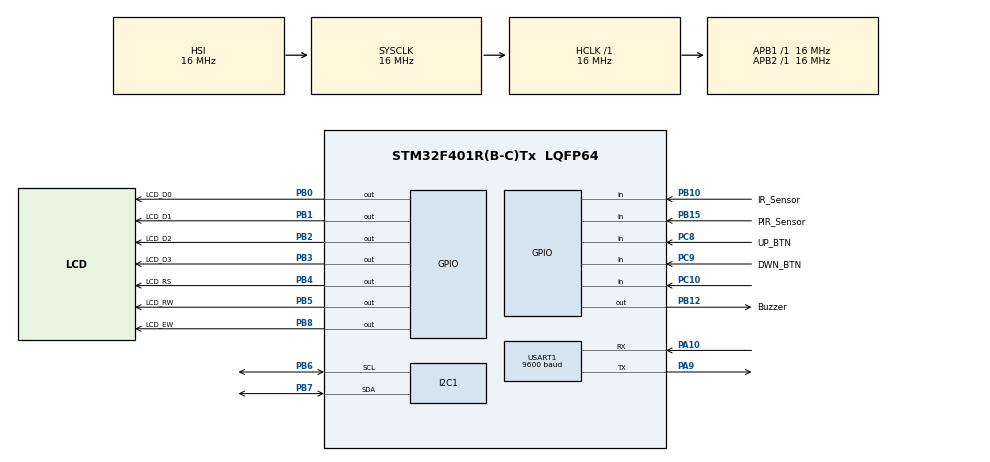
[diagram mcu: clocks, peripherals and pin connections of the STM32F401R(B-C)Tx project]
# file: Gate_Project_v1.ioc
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FREERTOS.BinarySemaphores01=Sem01,Dynamic,NULL;Sem02,Dynamic,NULL;Sem03,Dynamic,NULL;Sem04,Dynamic,NULL
FREERTOS.Tasks01=SensorStatus,0,128,Task1_SensorStatus,Default,NULL,Dynamic,NULL,NULL;DisplayTimeDate,0,128,Task2_ReadRTC_WriteLCD_1sec,Default,NULL,Dynamic,NULL,NULL;GateAnnouncment,0,128,Task3_Gate_Announcement,Default,NULL,Dynamic,NULL,NULL;VolumeChange,0,128,Task4_Volume_Change,Default,NULL,Dynamic,NULL,NULL
FREERTOS.configTICK_RATE_HZ=8
Mcu.Family=STM32F4
Mcu.Name=STM32F401R(B-C)Tx
Mcu.Package=LQFP64
NVIC.PriorityGroup=NVIC_PRIORITYGROUP_4
NVIC.TIM1_UP_TIM10_IRQn=true\:15\:0\:false\:false\:true\:false\:false\:true
NVIC.TimeBase=TIM1_UP_TIM10_IRQn
NVIC.TimeBaseIP=TIM10
PA10.Mode=Asynchronous
PA10.Signal=USART1_RX
PA13.Mode=Serial_Wire
PA13.Signal=SYS_JTMS-SWDIO
PA14.Mode=Serial_Wire
PA14.Signal=SYS_JTCK-SWCLK
PA9.Mode=Asynchronous
PA9.Signal=USART1_TX
PB0.GPIO_Label=LCD_D0
PB0.Signal=GPIO_Output
PB1.GPIO_Label=LCD_D1
PB1.Signal=GPIO_Output
PB10.GPIO_Label=IR_Sensor
PB10.GPIO_PuPd=GPIO_PULLUP
PB10.Signal=GPIO_Input
PB12.GPIO_Label=Buzzer
PB12.Signal=GPIO_Output
PB15.GPIO_Label=PIR_Sensor
PB15.GPIO_PuPd=GPIO_PULLUP
PB15.Signal=GPIO_Input
PB2.GPIO_Label=LCD_D2
PB2.Signal=GPIO_Output
PB3.GPIO_Label=LCD_D3
PB3.Signal=GPIO_Output
PB4.GPIO_Label=LCD_RS
PB4.Signal=GPIO_Output
PB5.GPIO_Label=LCD_RW
PB5.Signal=GPIO_Output
PB6.Mode=I2C
PB6.Signal=I2C1_SCL
PB7.Mode=I2C
PB7.Signal=I2C1_SDA
PB8.GPIO_Label=LCD_EW
PB8.GPIO_PuPd=GPIO_NOPULL
PB8.Signal=GPIO_Output
PC10.GPIO_PuPd=GPIO_PULLUP
PC10.Signal=GPIO_Input
PC14-OSC32_IN.Mode=LSE-External-Oscillator
PC14-OSC32_IN.Signal=RCC_OSC32_IN
PC15-OSC32_OUT.Mode=LSE-External-Oscillator
PC15-OSC32_OUT.Signal=RCC_OSC32_OUT
PC8.GPIO_Label=UP_BTN
PC8.GPIO_PuPd=GPIO_PULLUP
PC8.Signal=GPIO_Input
PC9.GPIO_Label=DWN_BTN
PC9.GPIO_PuPd=GPIO_PULLUP
PC9.Signal=GPIO_Input
PH0\ -\ OSC_IN.Mode=HSE-External-Oscillator
PH0\ -\ OSC_IN.Signal=RCC_OSC_IN
PH1\ -\ OSC_OUT.Mode=HSE-External-Oscillator
PH1\ -\ OSC_OUT.Signal=RCC_OSC_OUT
ProjectManager.HeapSize=0x200
ProjectManager.StackSize=0x400
ProjectManager.TargetToolchain=STM32CubeIDE
RCC.AHBFreq_Value=16000000
RCC.APB1Freq_Value=16000000
RCC.APB2Freq_Value=16000000
RCC.CortexFreq_Value=16000000
RCC.HSE_VALUE=25000000
RCC.HSI_VALUE=16000000
RCC.SYSCLKFreq_VALUE=16000000
RCC.VCOOutputFreq_Value=192000000
USART1.BaudRate=9600
USART1.VirtualMode=VM_ASYNC
VP_FREERTOS_VS_CMSIS_V1.Mode=CMSIS_V1
VP_SYS_VS_tim10.Mode=TIM10
board=custom

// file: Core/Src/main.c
/* USER CODE BEGIN Header */
/**
  ******************************************************************************
  * @file           : main.c
  * @brief          : Main program body
  ******************************************************************************
  * @attention
  *
  * Copyright (c) 2023 STMicroelectronics.
  * All rights reserved.
  *
  * This software is licensed under terms that can be found in the LICENSE file
  * in the root directory of this software component.
  * If no LICENSE file comes with this software, it is provided AS-IS.
  *
  ******************************************************************************
  */
/* USER CODE END Header */
#include "main.h"
#include "cmsis_os.h"

/* USER CODE BEGIN Includes */
#include "string.h"
#include "stdio.h"
#include "stdlib.h"
#include "Lcd.h"
/* USER CODE END Includes */

I2C_HandleTypeDef hi2c1;

UART_HandleTypeDef huart1;

osThreadId SensorStatusHandle;
osThreadId DisplayTimeDateHandle;
osThreadId GateAnnouncmentHandle;
osThreadId VolumeChangeHandle;
osSemaphoreId Sem01Handle;
osSemaphoreId Sem02Handle;
osSemaphoreId Sem03Handle;
osSemaphoreId Sem04Handle;
/* USER CODE BEGIN PV */
int IR_Value,PIR_Value,Hours_Int=0;
char Hours[2],Min[2],Sec[2]; //Time Stamp
uint8_t Time_Date[8];
char JQ6500_receiveBuff[4];
char Vol_Val[2],str[2];

int VolValue,enter=0,key=00,i=0,key1=2000000;
char Temp_Value[8];
uint8_t Time_Date[8];
uint8_t Mem_Write_data[8]={0x15,0x10,0x11,0x06,0x12,0x12,0x23};

/* USER CODE END PV */

void SystemClock_Config(void);
static void MX_GPIO_Init(void);
static void MX_I2C1_Init(void);
static void MX_USART1_UART_Init(void);
void Task1_SensorStatus(void const * argument);
void Task2_ReadRTC_WriteLCD_1sec(void const * argument);
void Task3_Gate_Announcement(void const * argument);
void Task4_Volume_Change(void const * argument);

/* USER CODE BEGIN 0 */
void sendJQ6500Command(uint8_t commandType) {
    uint8_t command[] = {commandType};
    HAL_UART_Transmit(&huart1, command, sizeof(command), 1000);
}

//void receiveJQ6500Command(void) {
//    HAL_UART_Receive(&huart1, JQ6500_receiveBuff, sizeof(JQ6500_receiveBuff), 100);
//}

void Audio_Track_Morning(void){
	sendJQ6500Command(0x7E);
	sendJQ6500Command(0x04);
	sendJQ6500Command(0x03);
	sendJQ6500Command(0x00);
	sendJQ6500Command(0x01); //File 1
	sendJQ6500Command(0xEF);
}

void Audio_Track_Afternoon(void){
	sendJQ6500Command(0x7E);
	sendJQ6500Command(0x04);
	sendJQ6500Command(0x03);
	sendJQ6500Command(0x00);
	sendJQ6500Command(0x02); //File 2
	sendJQ6500Command(0xEF);
}

void Audio_Track_Evening(void){
	sendJQ6500Command(0x7E);
	sendJQ6500Command(0x04);
	sendJQ6500Command(0x03);
	sendJQ6500Command(0x00);
	sendJQ6500Command(0x03); //File 3
	sendJQ6500Command(0xEF);
}

void Audio_Track_Welcome(void){
	sendJQ6500Command(0x7E);
	sendJQ6500Command(0x04);
	sendJQ6500Command(0x03);
	sendJQ6500Command(0x00);
	sendJQ6500Command(0x04); //File 4
	sendJQ6500Command(0xEF);
}

void Audio_Track_ThankYou(void){
	sendJQ6500Command(0x7E);
	sendJQ6500Command(0x04);
	sendJQ6500Command(0x03);
	sendJQ6500Command(0x00);
	sendJQ6500Command(0x05); //File 5
	sendJQ6500Command(0xEF);
}

void Audio_Track_CloseGate(void){
	sendJQ6500Command(0x7E);
	sendJQ6500Command(0x04);
	sendJQ6500Command(0x03);
	sendJQ6500Command(0x00);
	sendJQ6500Command(0x06); //File 6
	sendJQ6500Command(0xEF);
}

void Audio_Track_ThankClose(void){
	sendJQ6500Command(0x7E);
	sendJQ6500Command(0x04);
	sendJQ6500Command(0x03);
	sendJQ6500Command(0x00);
	sendJQ6500Command(0x07); //File 7
	sendJQ6500Command(0xEF);
}

void Audio_Track_VolumeSet(void){
	sendJQ6500Command(0x7E);
	sendJQ6500Command(0x03);
	sendJQ6500Command(0x06);
	sendJQ6500Command(0x1E); //Volume
	sendJQ6500Command(0xEF);
}

void Audio_Track_VolumeUp(void){
	sendJQ6500Command(0x7E);
	sendJQ6500Command(0x02);
	sendJQ6500Command(0x04); //Volume Up
	sendJQ6500Command(0xEF);
}

void Audio_Track_VolumeDown(void){
	sendJQ6500Command(0x7E);
	sendJQ6500Command(0x02);
	sendJQ6500Command(0x05); //Volume Down
	sendJQ6500Command(0xEF);
}

void Audio_Track_getVolume(void){
	sendJQ6500Command(0x7E);
	sendJQ6500Command(0x02);
	sendJQ6500Command(0x43); //Volume Down
	sendJQ6500Command(0xEF);
	HAL_UART_Receive(&huart1, JQ6500_receiveBuff, sizeof(JQ6500_receiveBuff), 1000);
}

void Audio_Track_Pause(void){
	sendJQ6500Command(0x7E);
	sendJQ6500Command(0x02);
	sendJQ6500Command(0x0E); //Pause Track
	sendJQ6500Command(0xEF);
}

void Audio_Track_Play(void){
	sendJQ6500Command(0x7E);
	sendJQ6500Command(0x02);
	sendJQ6500Command(0x0D); //Play Track
	sendJQ6500Command(0xEF);
}

/* USER CODE END 0 */

int main(void)
{
  /* USER CODE BEGIN 1 */
	char apndValue[3];
  /* USER CODE END 1 */

  /* MCU Configuration--------------------------------------------------------*/

  /* Reset of all peripherals, Initializes the Flash interface and the Systick. */
  HAL_Init();

  /* Configure the system clock */
  SystemClock_Config();

  /* Initialize all configured peripherals */
  MX_GPIO_Init();
  MX_I2C1_Init();
  MX_USART1_UART_Init();
  /* USER CODE BEGIN 2 */
  RM_LCD_Init();
  RM_LCD_Clear();

  /*Clock Config*/
  for(;i<key1;i++)
    {
    if(!(HAL_GPIO_ReadPin(GPIOC,GPIO_PIN_10)))
    {
  	  HAL_Delay(100);
    for(;enter<15;)
    {
  	  if(enter==1)
  	  {
  		  if(!(HAL_GPIO_ReadPin(GPIOC,GPIO_PIN_8)))
  		  {
  			  RM_LCD_Goto(0,0);
  			  HAL_Delay(100);
  			  Mem_Write_data[2]=key++;
  			  HAL_I2C_Mem_Write(&hi2c1,(0x68<<1),0x02,1, (uint8_t *)&Mem_Write_data[2],1,1000);
  			  HAL_I2C_Mem_Read(&hi2c1,(0x68<<1),0x02,1, (uint8_t *)&Time_Date[2],1,1000);
  			  sprintf(Temp_Value, "%02d",Time_Date[2]-6*(Time_Date[2]>>4));
  			  RM_LCD_PutStr(Temp_Value);
  			  HAL_Delay(100);
  			  if(key>24)
  			  {
  				  key=0;
  			  }
  		  }
  		  if(!(HAL_GPIO_ReadPin(GPIOC,GPIO_PIN_9)))
  		  {
  			  RM_LCD_Goto(enter,0);
  			  HAL_Delay(100);
  			  Mem_Write_data[2]=(key--);
  			  HAL_I2C_Mem_Write(&hi2c1,(0x68<<1),0x02,1, (uint8_t *)&Mem_Write_data[2],1,1000);
  			  HAL_I2C_Mem_Read(&hi2c1,(0x68<<1),0x02,1, (uint8_t *)&Time_Date[2],1,1000);
  			  sprintf(Temp_Value, "%02d",Time_Date[2]-6*(Time_Date[2]>>4));
  			  RM_LCD_PutStr(Temp_Value);
  			  HAL_Delay(100);
  			  if(key<0)
  			  {
  				  key=0;
  			  }
  		  }

  	  }
  	  if(enter==3)
  	  	  {
  	  		  if(!(HAL_GPIO_ReadPin(GPIOC,GPIO_PIN_8)))
  	  		  {
  	  			RM_LCD_Goto(enter,0);
  	  			 HAL_Delay(100);
  	  			 Mem_Write_data[1]=(key++);
  	  			 HAL_I2C_Mem_Write(&hi2c1,(0x68<<1),0x01,1, (uint8_t *)&Mem_Write_data[1],1,1000);
  	  		  	 HAL_I2C_Mem_Read(&hi2c1,(0x68<<1),0x01,1, (uint8_t *)&Time_Date[1],1,1000);
  	  		  	 sprintf(Temp_Value, "%02d",Time_Date[1]-6*(Time_Date[1]>>4));
  	  			 RM_LCD_PutStr(Temp_Value);
  	  			 HAL_Delay(100);
  	  			 if(key>59)
  	  			 {
  	  				 key=0;
  	  			 }
  	  		  }

  	  		  if(!(HAL_GPIO_ReadPin(GPIOC,GPIO_PIN_9)))
  	  		  {
  	  			RM_LCD_Goto(enter,0);
  	  			HAL_Delay(100);
  	  		  Mem_Write_data[1]=(key--);
  	  		HAL_I2C_Mem_Write(&hi2c1,(0x68<<1),0x01,1, (uint8_t *)&Mem_Write_data[1],1,1000);
  	  		HAL_I2C_Mem_Read(&hi2c1,(0x68<<1),0x01,1, (uint8_t *)&Time_Date[1],1,1000);
  	  		sprintf(Temp_Value, "%02d",Time_Date[1]-6*(Time_Date[1]>>4));
  	  			   		  RM_LCD_PutStr(Temp_Value);
  	  			   		HAL_Delay(100);
  	  			   		  if(key<1)
  	  			   		  {
  	  			   			  key=0;
  	  			   		  }
  	  		  }
  	  	  }
  	  if(enter==6)
  	  	  {
  	  		  if(!(HAL_GPIO_ReadPin(GPIOC,GPIO_PIN_8)))
  	  		  {
  	  			 RM_LCD_Goto(enter,0);
  	  			HAL_Delay(100);
  	  		  Mem_Write_data[0]=(key++);
  	  		HAL_I2C_Mem_Write(&hi2c1,(0x68<<1),0x00,1, (uint8_t *)&Mem_Write_data[0],1,1000);
  	  		HAL_I2C_Mem_Read(&hi2c1,(0x68<<1),0x00,1, (uint8_t *)&Time_Date[0],1,1000);
  	  		sprintf(Temp_Value, "%02d",Time_Date[0]-6*(Time_Date[0]>>4));
  	  			   		  RM_LCD_PutStr(Temp_Value);
  	  			   		HAL_Delay(100);
  	  		if(key>59)
  	  		{
  	  			key=0;
  	  		}
  	  		  }
  	  		  if(!(HAL_GPIO_ReadPin(GPIOC,GPIO_PIN_9)))
  	  		  {
  	  			 RM_LCD_Goto(enter,0);
  	  			HAL_Delay(100);
  	  		  Mem_Write_data[0]=(key--);
  	  		HAL_I2C_Mem_Write(&hi2c1,(0x68<<1),0x00,1, (uint8_t *)&Mem_Write_data[0],1,1000);
  	  		HAL_I2C_Mem_Read(&hi2c1,(0x68<<1),0x00,1, (uint8_t *)&Time_Date[0],1,1000);
  	  		sprintf(Temp_Value, "%02d",Time_Date[0]-6*(Time_Date[0]>>4));
  	  			   		  RM_LCD_PutStr(Temp_Value);
  	  			   		HAL_Delay(100);
  	  			   		  if(key<1)
  	  			   		  {
  	  			   			  key=0;
  	  			   		  }
  	  		  }
  	  	  }
  	  if(enter==7)
  	  {

  		  	  		  if(!(HAL_GPIO_ReadPin(GPIOC,GPIO_PIN_8)))
  		  	  		  {
  		  	  			RM_LCD_Goto(0,1);
  		  	  			HAL_Delay(100);
  		  	  		Mem_Write_data[4]=(key++);
  		  	  	HAL_I2C_Mem_Write(&hi2c1,(0x68<<1),0x04,1, (uint8_t *)&Mem_Write_data[4],1,1000);
  		  	  HAL_I2C_Mem_Read(&hi2c1,(0x68<<1),0x04,1, (uint8_t *)&Time_Date[4],1,1000);
  		  	sprintf(Temp_Value, "%02d",Time_Date[4]-6*(Time_Date[4]>>4));
  		  		   			RM_LCD_PutStr(Temp_Value);
  		  		   		HAL_Delay(100);
  		  	  		if(key>31)
  		  	  		{
  		  	  			key=0;
  		  	  		}
  		  	  		  }
  		  	  		  if(!(HAL_GPIO_ReadPin(GPIOC,GPIO_PIN_9)))
  		  	  		  {
  		  	  			RM_LCD_Goto(0,1);
  		  	  			HAL_Delay(100);
  		 	  	  		Mem_Write_data[4]=(key--);
  		  	  		    HAL_I2C_Mem_Write(&hi2c1,(0x68<<1),0x04,1, (uint8_t *)&Mem_Write_data[4],1,1000);
  		  	  		HAL_I2C_Mem_Read(&hi2c1,(0x68<<1),0x04,1, (uint8_t *)&Time_Date[4],1,1000);
  		  	  	sprintf(Temp_Value, "%02d",Time_Date[4]-6*(Time_Date[4]>>4));
  		  	  		   			RM_LCD_PutStr(Temp_Value);
  		  	  		   		HAL_Delay(100);
  		  	  		   			if(key<1)
  		  	  		   			{
  		  	  		   				key=0;
  		  	  		   			}
  		  	  		  }
  	  }
  	  if(enter==9)
  	  	  {
  		  RM_LCD_Goto(3,1);
  	  		  	  		  if(!(HAL_GPIO_ReadPin(GPIOC,GPIO_PIN_8)))
  	  		  	  		  {
  	  		  	  		HAL_Delay(100);
  	  		  	  		Mem_Write_data[5]=(key++);
  	  		  	  	HAL_I2C_Mem_Write(&hi2c1,(0x68<<1),0x05,1, (uint8_t *)&Mem_Write_data[5],1,1000);
  	  		  	  HAL_I2C_Mem_Read(&hi2c1,(0x68<<1),0x05,1, (uint8_t *)&Time_Date[5],1,1000);
  	  		  	sprintf(Temp_Value, "%02d",Time_Date[5]-6*(Time_Date[5]>>4));
  	  		  		   			RM_LCD_PutStr(Temp_Value);
  	  		  		   		HAL_Delay(100);
  	  		  	  		if(key>12)
  	  		  	  		{
  	  		  	  			key=0;
  	  		  	  		}
  	  		  	  		  }
  	  		  	  		  if(!(HAL_GPIO_ReadPin(GPIOC,GPIO_PIN_9)))
  	  		  	  		  {
  	  		  	  		HAL_Delay(100);
  	  		 	  	  		Mem_Write_data[5]=(key--);
  	  		  	  		    HAL_I2C_Mem_Write(&hi2c1,(0x68<<1),0x05,1, (uint8_t *)&Mem_Write_data[5],1,1000);
  	  		  	  		HAL_I2C_Mem_Read(&hi2c1,(0x68<<1),0x05,1, (uint8_t *)&Time_Date[5],1,1000);
  	  		  	  	sprintf(Temp_Value, "%02d",Time_Date[5]-6*(Time_Date[5]>>4));
  	  		  	  		   			RM_LCD_PutStr(Temp_Value);
  	  		  	  		   	HAL_Delay(100);
  	  		  	  		   			if(key<0)
  	  		  	  		   			{
  	  		  	  		   				key=0;
  	  		  	  		   			}
  	  		  	  		  }
  	  	  }
  	  if(enter==11)
  	  	  	  {
  		  RM_LCD_Goto(6,1);
  	  	  		  	  		  if(!(HAL_GPIO_ReadPin(GPIOC,GPIO_PIN_8)))
  	  	  		  	  		  {
  	  	  		  	  		HAL_Delay(100);
  	  	  		  	  		Mem_Write_data[6]=(key++);
  	  	  		  	  	HAL_I2C_Mem_Write(&hi2c1,(0x68<<1),0x06,1, (uint8_t *)&Mem_Write_data[6],1,1000);
  	  	  		  	  HAL_I2C_Mem_Read(&hi2c1,(0x68<<1),0x06,1, (uint8_t *)&Time_Date[6],1,1000);
  	  	  		  	sprintf(Temp_Value, "%02d",Time_Date[6]-6*(Time_Date[6]>>4));
  	  	  		  		   			RM_LCD_PutStr(Temp_Value);
  	  	  		  		   	HAL_Delay(100);
  	  	  		  	  		  }
  	  	  		  	  		  if(!(HAL_GPIO_ReadPin(GPIOC,GPIO_PIN_9)))
  	  	  		  	  		  {
  	  	  		  	  		HAL_Delay(100);
  	  	  		 	  	  		Mem_Write_data[6]=(key--);
  	  	  		  	  		    HAL_I2C_Mem_Write(&hi2c1,(0x68<<1),0x06,1, (uint8_t *)&Mem_Write_data[6],1,1000);
  	  	  		  	  		HAL_I2C_Mem_Read(&hi2c1,(0x68<<1),0x06,1, (uint8_t *)&Time_Date[6],1,1000);
  	  	  		  	  	sprintf(Temp_Value, "%02d",Time_Date[6]-6*(Time_Date[6]>>4));
  	  	  		  	  		   			RM_LCD_PutStr(Temp_Value);
  	  	  		  	  		   	HAL_Delay(100);
  	  	  		  	  		  }
  	  	  	  }
  	  if(!(HAL_GPIO_ReadPin(GPIOC,GPIO_PIN_10)))
  	  {
  		  HAL_Delay(200);
  		  enter++;
  	  }
  	  if(enter==2)
  	  {
  		  HAL_Delay(100);
  		  RM_LCD_Goto(enter,0);
  		  RM_LCD_Write_DATA(':');
  		  enter++;
  	  }
  	  if(enter==5)
  	  {
  		  HAL_Delay(100);
  		  RM_LCD_Goto(enter,0);
  		  RM_LCD_Write_DATA(':');
  		  enter++;
  	  }
  	  if(enter==8)
  	  	  {
  	  		  HAL_Delay(100);
  	  		  RM_LCD_Goto(2,1);
  	  		  RM_LCD_Write_DATA(':');
  	  		  enter++;
  	  	  }
  	  if(enter==10)
  	  	  	  {
  	  	  		  HAL_Delay(100);
  	  	  		  RM_LCD_Goto(5,1);
  	  	  		  RM_LCD_Write_DATA(':');
  	  	  		  enter++;
  	  	  	  }
    }
    key1=0;
    }
    }

  /*Project Welcome Screen*/
  //Audio_Track_Play();
  sprintf(apndValue, "Gate Monitoring");  //Hours
  RM_LCD_Write_Str(0,0,apndValue);
  sprintf(apndValue, "V1.0");  //Hours
  RM_LCD_Write_Str(6,1,apndValue);
  HAL_Delay(2000);
  RM_LCD_Clear();

  /* USER CODE END 2 */

  /* Create the semaphores(s) */
  /* definition and creation of Sem01 */
  osSemaphoreDef(Sem01);
  Sem01Handle = osSemaphoreCreate(osSemaphore(Sem01), 1);

  /* definition and creation of Sem02 */
  osSemaphoreDef(Sem02);
  Sem02Handle = osSemaphoreCreate(osSemaphore(Sem02), 1);

  /* definition and creation of Sem03 */
  osSemaphoreDef(Sem03);
  Sem03Handle = osSemaphoreCreate(osSemaphore(Sem03), 1);

  /* definition and creation of Sem04 */
  osSemaphoreDef(Sem04);
  Sem04Handle = osSemaphoreCreate(osSemaphore(Sem04), 1);

  /* Create the thread(s) */
  /* definition and creation of SensorStatus */
  osThreadDef(SensorStatus, Task1_SensorStatus, osPriorityNormal, 0, 128);
  SensorStatusHandle = osThreadCreate(osThread(SensorStatus), NULL);

  /* definition and creation of DisplayTimeDate */
  osThreadDef(DisplayTimeDate, Task2_ReadRTC_WriteLCD_1sec, osPriorityNormal, 0, 128);
  DisplayTimeDateHandle = osThreadCreate(osThread(DisplayTimeDate), NULL);

  /* definition and creation of GateAnnouncment */
  osThreadDef(GateAnnouncment, Task3_Gate_Announcement, osPriorityNormal, 0, 128);
  GateAnnouncmentHandle = osThreadCreate(osThread(GateAnnouncment), NULL);

  /* definition and creation of VolumeChange */
  osThreadDef(VolumeChange, Task4_Volume_Change, osPriorityNormal, 0, 128);
  VolumeChangeHandle = osThreadCreate(osThread(VolumeChange), NULL);

  /* Start scheduler */
  osKernelStart();

  /* We should never get here as control is now taken by the scheduler */
  /* Infinite loop */
  while (1)
  {

  }
}

void SystemClock_Config(void)
{
  RCC_OscInitTypeDef RCC_OscInitStruct = {0};
  RCC_ClkInitTypeDef RCC_ClkInitStruct = {0};

  /** Configure the main internal regulator output voltage
  */
  __HAL_RCC_PWR_CLK_ENABLE();
  __HAL_PWR_VOLTAGESCALING_CONFIG(PWR_REGULATOR_VOLTAGE_SCALE2);
  /** Initializes the RCC Oscillators according to the specified parameters
  * in the RCC_OscInitTypeDef structure.
  */
  RCC_OscInitStruct.OscillatorType = RCC_OSCILLATORTYPE_HSI;
  RCC_OscInitStruct.HSIState = RCC_HSI_ON;
  RCC_OscInitStruct.HSICalibrationValue = RCC_HSICALIBRATION_DEFAULT;
  RCC_OscInitStruct.PLL.PLLState = RCC_PLL_NONE;
  if (HAL_RCC_OscConfig(&RCC_OscInitStruct) != HAL_OK)
  {
    Error_Handler();
  }
  /** Initializes the CPU, AHB and APB buses clocks
  */
  RCC_ClkInitStruct.ClockType = RCC_CLOCKTYPE_HCLK|RCC_CLOCKTYPE_SYSCLK
                              |RCC_CLOCKTYPE_PCLK1|RCC_CLOCKTYPE_PCLK2;
  RCC_ClkInitStruct.SYSCLKSource = RCC_SYSCLKSOURCE_HSI;
  RCC_ClkInitStruct.AHBCLKDivider = RCC_SYSCLK_DIV1;
  RCC_ClkInitStruct.APB1CLKDivider = RCC_HCLK_DIV1;
  RCC_ClkInitStruct.APB2CLKDivider = RCC_HCLK_DIV1;

  if (HAL_RCC_ClockConfig(&RCC_ClkInitStruct, FLASH_LATENCY_0) != HAL_OK)
  {
    Error_Handler();
  }
}

static void MX_I2C1_Init(void)
{

  hi2c1.Instance = I2C1;
  hi2c1.Init.ClockSpeed = 100000;
  hi2c1.Init.DutyCycle = I2C_DUTYCYCLE_2;
  hi2c1.Init.OwnAddress1 = 0;
  hi2c1.Init.AddressingMode = I2C_ADDRESSINGMODE_7BIT;
  hi2c1.Init.DualAddressMode = I2C_DUALADDRESS_DISABLE;
  hi2c1.Init.OwnAddress2 = 0;
  hi2c1.Init.GeneralCallMode = I2C_GENERALCALL_DISABLE;
  hi2c1.Init.NoStretchMode = I2C_NOSTRETCH_DISABLE;
  if (HAL_I2C_Init(&hi2c1) != HAL_OK)
  {
    Error_Handler();
  }

}

static void MX_USART1_UART_Init(void)
{

  huart1.Instance = USART1;
  huart1.Init.BaudRate = 9600;
  huart1.Init.WordLength = UART_WORDLENGTH_8B;
  huart1.Init.StopBits = UART_STOPBITS_1;
  huart1.Init.Parity = UART_PARITY_NONE;
  huart1.Init.Mode = UART_MODE_TX_RX;
  huart1.Init.HwFlowCtl = UART_HWCONTROL_NONE;
  huart1.Init.OverSampling = UART_OVERSAMPLING_16;
  if (HAL_UART_Init(&huart1) != HAL_OK)
  {
    Error_Handler();
  }

}

static void MX_GPIO_Init(void)
{
  GPIO_InitTypeDef GPIO_InitStruct = {0};

  /* GPIO Ports Clock Enable */
  __HAL_RCC_GPIOC_CLK_ENABLE();
  __HAL_RCC_GPIOH_CLK_ENABLE();
  __HAL_RCC_GPIOB_CLK_ENABLE();
  __HAL_RCC_GPIOA_CLK_ENABLE();

  /*Configure GPIO pin Output Level */
  HAL_GPIO_WritePin(GPIOB, LCD_D0_Pin|LCD_D1_Pin|LCD_D2_Pin|Buzzer_Pin
                          |LCD_D3_Pin|LCD_RS_Pin|LCD_RW_Pin|LCD_EW_Pin, GPIO_PIN_RESET);

  /*Configure GPIO pins : LCD_D0_Pin LCD_D1_Pin LCD_D2_Pin Buzzer_Pin
                           LCD_D3_Pin LCD_RS_Pin LCD_RW_Pin LCD_EW_Pin */
  GPIO_InitStruct.Pin = LCD_D0_Pin|LCD_D1_Pin|LCD_D2_Pin|Buzzer_Pin
                          |LCD_D3_Pin|LCD_RS_Pin|LCD_RW_Pin|LCD_EW_Pin;
  GPIO_InitStruct.Mode = GPIO_MODE_OUTPUT_PP;
  GPIO_InitStruct.Pull = GPIO_NOPULL;
  GPIO_InitStruct.Speed = GPIO_SPEED_FREQ_LOW;
  HAL_GPIO_Init(GPIOB, &GPIO_InitStruct);

  /*Configure GPIO pins : IR_Sensor_Pin PIR_Sensor_Pin */
  GPIO_InitStruct.Pin = IR_Sensor_Pin|PIR_Sensor_Pin;
  GPIO_InitStruct.Mode = GPIO_MODE_INPUT;
  GPIO_InitStruct.Pull = GPIO_PULLUP;
  HAL_GPIO_Init(GPIOB, &GPIO_InitStruct);

  /*Configure GPIO pins : UP_BTN_Pin DWN_BTN_Pin PC10 */
  GPIO_InitStruct.Pin = UP_BTN_Pin|DWN_BTN_Pin|GPIO_PIN_10;
  GPIO_InitStruct.Mode = GPIO_MODE_INPUT;
  GPIO_InitStruct.Pull = GPIO_PULLUP;
  HAL_GPIO_Init(GPIOC, &GPIO_InitStruct);

}

void Task1_SensorStatus(void const * argument)
{
  /* USER CODE BEGIN 5 */
  /* Infinite loop */
  for(;;)
  {
	  IR_Value = HAL_GPIO_ReadPin(GPIOB,IR_Sensor_Pin);
	  PIR_Value = HAL_GPIO_ReadPin(GPIOB,PIR_Sensor_Pin);
	  osDelay(10);
  }
  /* USER CODE END 5 */
}

void Task2_ReadRTC_WriteLCD_1sec(void const * argument)
{
  /* USER CODE BEGIN Task2_ReadRTC_WriteLCD_1sec */
	char apndValue[3];

  /* Infinite loop */
  for(;;)
  {
	  osSemaphoreWait(Sem01Handle,osWaitForever);
	  //*******DATE AND TIME DATA TO I2C*******//
	  HAL_I2C_Mem_Read(&hi2c1,(0x68<<1),0x00,1, (uint8_t *)&Time_Date,7,1000);

	 //******LCD_PRINT*******//
	 //Print Time->HH:MM:SS(Row-1)//RM_LCD_Goto(0,0);
	 sprintf(apndValue, "%02d",Time_Date[2]-6*(Time_Date[2]>>4));  //Hours
	 RM_LCD_Write_Str(0,0,apndValue);
	 strcpy(Hours,apndValue);  //Copy Hours into Hours variable
	 apndValue[0]=0;
	 apndValue[1]=0;

	 RM_LCD_Write_DATA(':');
	 sprintf(apndValue, "%02d",Time_Date[1]-6*(Time_Date[1]>>4));
	 RM_LCD_PutStr(apndValue);
	 strcpy(Min,apndValue);		//Copy Mins into Min variable

	 RM_LCD_Write_DATA(':');
	 sprintf(apndValue, "%02d",Time_Date[0]-6*(Time_Date[0]>>4));
	 RM_LCD_PutStr(apndValue);
	 strcpy(Sec,apndValue);  //Copy Seconds into Sec variable

	 //Print DATE->(Row-2)//RM_LCD_PutStr("DATE:");
	 RM_LCD_Goto(0,1);
	 sprintf(apndValue, "%02d",Time_Date[4]-6*(Time_Date[4]>>4));
	 RM_LCD_PutStr(apndValue);

	 RM_LCD_Write_DATA('/');
	 sprintf(apndValue, "%02d",Time_Date[5]-6*(Time_Date[5]>>4));
	 RM_LCD_PutStr(apndValue);

	 RM_LCD_Write_DATA('/');
	 sprintf(apndValue, "%02d",Time_Date[6]-6*(Time_Date[6]>>4));
	 RM_LCD_PutStr(apndValue);

	 osDelay(10);
	 osSemaphoreRelease(Sem02Handle);
  }
  /* USER CODE END Task2_ReadRTC_WriteLCD_1sec */
}

void Task3_Gate_Announcement(void const * argument)
{
  /* USER CODE BEGIN Task3_Gate_Announcement */
	int Gate_Flag =0;
  /* Infinite loop */
	char apndValue[3];
	Audio_Track_VolumeSet();
  for(;;)
  {
	  osSemaphoreWait(Sem02Handle,osWaitForever);

/* Gate Open and IR Trigger */
	  if(PIR_Value == 0){

		  /*Out going Section*/
		  if(IR_Value == 0){ //-> IR

			  /*Thank you Printing*/
			  RM_LCD_Clear();
			  osDelay(100);
			  RM_LCD_Write_Str(0,0,"Gate Announce");
			  RM_LCD_Write_Str(0,1,"Thank You!");
			  Audio_Track_ThankYou();  //Thank you Announce
			  osDelay(3000);
			  while(!PIR_Value){ 			//during GATE OPEN
				  osDelay(2000);
				  Audio_Track_CloseGate();  //Close Gate Announce
			  }

			  Gate_Flag=1;
			  RM_LCD_Clear();
			  if(Gate_Flag){
			  	Audio_Track_ThankClose();
			  	Gate_Flag=0;
			  }
		  }
	  }

/* Gate Open */
	  if(PIR_Value==0){
		  /*In Coming Section*/
		  Hours_Int = atoi(Hours);

		  RM_LCD_Clear();
		  osDelay(100);
		  RM_LCD_Write_Str(0,0,"Gate Announce");

		  if(Hours_Int>=4 && Hours_Int < 12){
			  RM_LCD_Write_Str(0,1,"Good Morning!");
			  Audio_Track_Morning();
		  }
		  else if(Hours_Int>=12 && Hours_Int< 16){
			  RM_LCD_Write_Str(0,1,"Good Afternoon!");
			  Audio_Track_Afternoon();
		  }
		  else if(Hours_Int>=16 && Hours_Int < 24){
			  RM_LCD_Write_Str(0,1,"Good Evening!");
			  Audio_Track_Evening();
		  }

		  Audio_Track_Welcome();  //Welcome Announce
		  osDelay(10000);
		  while(!PIR_Value){ 	//during GATE OPEN
			  osDelay(2000);
			  Audio_Track_CloseGate();  //Close Gate Announce
		  }
		  Gate_Flag=1;
		  RM_LCD_Clear();
		  if(Gate_Flag){
			  Audio_Track_ThankClose();
			  Gate_Flag=0;
		 }
	  }

	  osDelay(10);
	  osSemaphoreRelease(Sem01Handle);
  }
  /* USER CODE END Task3_Gate_Announcement */
}

void Task4_Volume_Change(void const * argument)
{
  /* USER CODE BEGIN Task4_Volume_Change */
	int UP_BTN_Value,DWN_BTN_Value;
  /* Infinite loop */
  for(;;)
  {
	  UP_BTN_Value = HAL_GPIO_ReadPin(GPIOC,UP_BTN_Pin);
	  DWN_BTN_Value = HAL_GPIO_ReadPin(GPIOC,DWN_BTN_Pin);

	  Audio_Track_getVolume();
	  osDelay(300);

	  if(!UP_BTN_Value){
		  Vol_Val[0]=JQ6500_receiveBuff[3];
		  Vol_Val[1]=JQ6500_receiveBuff[0];
		  VolValue = strtol(Vol_Val,NULL,16);
		  sprintf(str,"%d",VolValue);

		  Audio_Track_VolumeUp();
		  RM_LCD_Write_Str(10,1,str);
		  osDelay(100);
	  }
	  else if(!DWN_BTN_Value){
		  Vol_Val[0]=JQ6500_receiveBuff[3];
		  Vol_Val[1]=JQ6500_receiveBuff[0];
		  VolValue = strtol(Vol_Val,NULL,16);
		  sprintf(str,"%d",VolValue);

		  Audio_Track_VolumeDown();
		  RM_LCD_Write_Str(10,1,str);
		  osDelay(100);
	  }

	  osDelay(10);
  }
  /* USER CODE END Task4_Volume_Change */
}

void HAL_TIM_PeriodElapsedCallback(TIM_HandleTypeDef *htim)
{
  if (htim->Instance == TIM10) {
    HAL_IncTick();
  }
}

void Error_Handler(void)
{
  __disable_irq();
  while (1)
  {
  }
}
